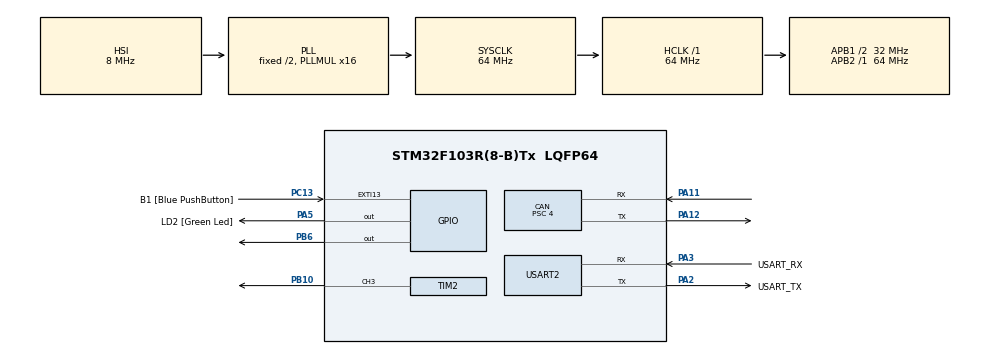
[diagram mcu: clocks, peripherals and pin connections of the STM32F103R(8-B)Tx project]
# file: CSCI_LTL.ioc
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CAN.BS1=CAN_BS1_13TQ
CAN.BS2=CAN_BS2_2TQ
CAN.CalculateBaudRate=500000
CAN.CalculateTimeBit=2000
CAN.CalculateTimeQuantum=125.0
CAN.Mode=CAN_MODE_NORMAL
CAN.Prescaler=4
Mcu.Family=STM32F1
Mcu.Name=STM32F103R(8-B)Tx
Mcu.Package=LQFP64
NVIC.CAN1_RX1_IRQn=true\:0\:0\:false\:false\:true\:true\:true\:true
NVIC.EXTI15_10_IRQn=true\:0\:0\:false\:false\:true\:true\:true\:true
NVIC.PriorityGroup=NVIC_PRIORITYGROUP_4
NVIC.USART2_IRQn=true\:0\:0\:false\:false\:true\:true\:true\:true
NVIC.USB_LP_CAN1_RX0_IRQn=true\:0\:0\:false\:false\:true\:true\:true\:true
PA11.Mode=CAN_Activate
PA11.Signal=CAN_RX
PA12.Mode=CAN_Activate
PA12.Signal=CAN_TX
PA13.GPIO_Label=TMS
PA13.Mode=Serial_Wire
PA13.Signal=SYS_JTMS-SWDIO
PA14.GPIO_Label=TCK
PA14.Mode=Serial_Wire
PA14.Signal=SYS_JTCK-SWCLK
PA2.GPIO_Label=USART_TX
PA2.GPIO_Mode=GPIO_MODE_AF_PP
PA2.GPIO_PuPd=GPIO_NOPULL
PA2.GPIO_Speed=GPIO_SPEED_FREQ_LOW
PA2.Mode=Asynchronous
PA2.Signal=USART2_TX
PA3.GPIO_Label=USART_RX
PA3.GPIO_Mode=GPIO_MODE_AF_PP
PA3.GPIO_PuPd=GPIO_NOPULL
PA3.GPIO_Speed=GPIO_SPEED_FREQ_LOW
PA3.Mode=Asynchronous
PA3.Signal=USART2_RX
PA5.GPIO_Label=LD2 [Green Led]
PA5.GPIO_ModeDefaultOutputPP=GPIO_MODE_OUTPUT_PP
PA5.GPIO_PuPd=GPIO_NOPULL
PA5.GPIO_Speed=GPIO_SPEED_FREQ_LOW
PA5.Signal=GPIO_Output
PB10.Signal=S_TIM2_CH3
PB3.GPIO_Label=SWO
PB3.Signal=SYS_JTDO-TRACESWO
PB6.Signal=GPIO_Output
PC13-TAMPER-RTC.GPIO_Label=B1 [Blue PushButton]
PC13-TAMPER-RTC.GPIO_PuPd=GPIO_NOPULL
PC13-TAMPER-RTC.Signal=GPXTI13
PC14-OSC32_IN.Mode=LSE-External-Oscillator
PC14-OSC32_IN.Signal=RCC_OSC32_IN
PC15-OSC32_OUT.Mode=LSE-External-Oscillator
PC15-OSC32_OUT.Signal=RCC_OSC32_OUT
PD0-OSC_IN.Mode=HSE-External-Clock-Source
PD0-OSC_IN.Signal=RCC_OSC_IN
PD1-OSC_OUT.Mode=HSE-External-Clock-Source
PD1-OSC_OUT.Signal=RCC_OSC_OUT
ProjectManager.HeapSize=0x200
ProjectManager.StackSize=0x400
ProjectManager.TargetToolchain=STM32CubeIDE
RCC.AHBFreq_Value=64000000
RCC.APB1CLKDivider=RCC_HCLK_DIV2
RCC.APB1Freq_Value=32000000
RCC.APB1TimFreq_Value=64000000
RCC.APB2Freq_Value=64000000
RCC.APB2TimFreq_Value=64000000
RCC.HCLKFreq_Value=64000000
RCC.PLLMUL=RCC_PLL_MUL16
RCC.RTCClockSelection=RCC_RTCCLKSOURCE_LSE
RCC.SYSCLKFreq_VALUE=64000000
RCC.SYSCLKSource=RCC_SYSCLKSOURCE_PLLCLK
RCC.USBFreq_Value=64000000
SH.S_TIM2_CH3.0=TIM2_CH3,PWM Generation3 CH3
TIM2.Channel-PWM\ Generation3\ CH3=TIM_CHANNEL_3
TIM2.Period=19999
TIM2.Prescaler=63
TIM2.Pulse-PWM\ Generation3\ CH3=1500
TIM4.AutoReloadPreload=TIM_AUTORELOAD_PRELOAD_ENABLE
TIM4.Period=19999
TIM4.Prescaler=63
USART2.VirtualMode=VM_ASYNC
VP_TIM4_VS_ClockSourceINT.Mode=Internal
board=NUCLEO-F103RB

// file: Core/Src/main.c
/* USER CODE BEGIN Header */
/**
  ******************************************************************************
  * @file           : main.c
  * @brief          : Main program body
  ******************************************************************************
  * @attention
  *
  * Copyright (c) 2026 STMicroelectronics.
  * All rights reserved.
  *
  * This software is licensed under terms that can be found in the LICENSE file
  * in the root directory of this software component.
  * If no LICENSE file comes with this software, it is provided AS-IS.
  *
  ******************************************************************************
  */
/* USER CODE END Header */
#include "main.h"

/* USER CODE BEGIN Includes */
#include "types.h"
#include "ecs_com.h"
#include "state.h"
#include "laying.h"
#include <stdio.h>
/* USER CODE END Includes */

CAN_HandleTypeDef hcan;

TIM_HandleTypeDef htim2;
TIM_HandleTypeDef htim4;

UART_HandleTypeDef huart2;

/* USER CODE BEGIN PV */
uint8_t rx_data[8];
uint8_t uart_rx_buf[8];
/* USER CODE END PV */

void SystemClock_Config(void);
static void MX_GPIO_Init(void);
static void MX_USART2_UART_Init(void);
static void MX_CAN_Init(void);
static void MX_TIM4_Init(void);
static void MX_TIM2_Init(void);
/* USER CODE BEGIN PFP */
/* UART로 8바이트 데이터를 받으면 실행되는 콜백 */
void HAL_UART_RxCpltCallback(UART_HandleTypeDef *huart);
/* USER CODE END PFP */

/* USER CODE BEGIN 0 */
int __io_putchar(int ch)
{
    HAL_UART_Transmit(&huart2, (uint8_t*)&ch, 1, HAL_MAX_DELAY);
    return ch;
}
/* USER CODE END 0 */

int main(void)
{

  /* MCU Configuration--------------------------------------------------------*/

  /* Reset of all peripherals, Initializes the Flash interface and the Systick. */
  HAL_Init();

  /* Configure the system clock */
  SystemClock_Config();

  /* Initialize all configured peripherals */
  MX_GPIO_Init();
  MX_USART2_UART_Init();
  MX_CAN_Init();
  MX_TIM4_Init();
  MX_TIM2_Init();
  /* USER CODE BEGIN 2 */
    // 1. CAN 필터 설정 (이게 없으면 메시지가 수신되지 않음)
    CAN_FilterTypeDef sFilterConfig;
    sFilterConfig.FilterBank = 0;
    sFilterConfig.FilterMode = CAN_FILTERMODE_IDMASK;
    sFilterConfig.FilterScale = CAN_FILTERSCALE_32BIT;
    sFilterConfig.FilterIdHigh = 0x0000;
    sFilterConfig.FilterIdLow = 0x0000;
    sFilterConfig.FilterMaskIdHigh = 0x0000; // 0으로 설정하면 모든 ID 수신 (테스트용)
    sFilterConfig.FilterMaskIdLow = 0x0000;
    sFilterConfig.FilterFIFOAssignment = CAN_RX_FIFO0;
    sFilterConfig.FilterActivation = ENABLE;

    if (HAL_CAN_ConfigFilter(&hcan, &sFilterConfig) != HAL_OK) {
        Error_Handler();
    }

    // 2. CAN 주변장치 시작 (이게 없으면 전송/수신 모두 불가)
    if (HAL_CAN_Start(&hcan) != HAL_OK) {
        Error_Handler();
    }

    // 발사대 시작 확인 출력
    printf("Launcher System Online!\r\n");
    HAL_UART_Transmit(&huart2, (uint8_t*)"UART TEST\r\n", 11, 100);

    HAL_UART_Receive_IT(&huart2, uart_rx_buf, 8);
    HAL_TIM_PWM_Start(&htim2, TIM_CHANNEL_3);

  /* USER CODE END 2 */

    /* Infinite loop */
    /* USER CODE BEGIN WHILE */
    while (1)
    {
        // 2. ECS 명령 데이터 수신 및 파싱
        receiveDataFromECS();

        // 3. 상태 머신 구동 (여기서 조준, 사격 등의 동작 제어)
        executeStateProcess();

        // 4. 상태 보고 주기 조정: 50ms -> 1000ms로 변경
        static uint32_t last_send_tick = 0;
        if (HAL_GetTick() - last_send_tick >= 1000) { // 💡 1초마다 한 번씩만 보고
            sendStateToECS();
            last_send_tick = HAL_GetTick();
        }
    /* USER CODE END WHILE */

  }
}

void SystemClock_Config(void)
{
  RCC_OscInitTypeDef RCC_OscInitStruct = {0};
  RCC_ClkInitTypeDef RCC_ClkInitStruct = {0};

  /** Initializes the RCC Oscillators according to the specified parameters
  * in the RCC_OscInitTypeDef structure.
  */
  RCC_OscInitStruct.OscillatorType = RCC_OSCILLATORTYPE_HSI;
  RCC_OscInitStruct.HSIState = RCC_HSI_ON;
  RCC_OscInitStruct.HSICalibrationValue = RCC_HSICALIBRATION_DEFAULT;
  RCC_OscInitStruct.PLL.PLLState = RCC_PLL_ON;
  RCC_OscInitStruct.PLL.PLLSource = RCC_PLLSOURCE_HSI_DIV2;
  RCC_OscInitStruct.PLL.PLLMUL = RCC_PLL_MUL16;
  if (HAL_RCC_OscConfig(&RCC_OscInitStruct) != HAL_OK)
  {
    Error_Handler();
  }

  /** Initializes the CPU, AHB and APB buses clocks
  */
  RCC_ClkInitStruct.ClockType = RCC_CLOCKTYPE_HCLK|RCC_CLOCKTYPE_SYSCLK
                              |RCC_CLOCKTYPE_PCLK1|RCC_CLOCKTYPE_PCLK2;
  RCC_ClkInitStruct.SYSCLKSource = RCC_SYSCLKSOURCE_PLLCLK;
  RCC_ClkInitStruct.AHBCLKDivider = RCC_SYSCLK_DIV1;
  RCC_ClkInitStruct.APB1CLKDivider = RCC_HCLK_DIV2;
  RCC_ClkInitStruct.APB2CLKDivider = RCC_HCLK_DIV1;

  if (HAL_RCC_ClockConfig(&RCC_ClkInitStruct, FLASH_LATENCY_2) != HAL_OK)
  {
    Error_Handler();
  }
}

static void MX_CAN_Init(void)
{

  hcan.Instance = CAN1;
  hcan.Init.Prescaler = 4;
  hcan.Init.Mode = CAN_MODE_NORMAL;
  hcan.Init.SyncJumpWidth = CAN_SJW_1TQ;
  hcan.Init.TimeSeg1 = CAN_BS1_13TQ;
  hcan.Init.TimeSeg2 = CAN_BS2_2TQ;
  hcan.Init.TimeTriggeredMode = DISABLE;
  hcan.Init.AutoBusOff = DISABLE;
  hcan.Init.AutoWakeUp = DISABLE;
  hcan.Init.AutoRetransmission = DISABLE;
  hcan.Init.ReceiveFifoLocked = DISABLE;
  hcan.Init.TransmitFifoPriority = DISABLE;
  if (HAL_CAN_Init(&hcan) != HAL_OK)
  {
    Error_Handler();
  }

}

static void MX_TIM2_Init(void)
{

  TIM_MasterConfigTypeDef sMasterConfig = {0};
  TIM_OC_InitTypeDef sConfigOC = {0};

  htim2.Instance = TIM2;
  htim2.Init.Prescaler = 63;
  htim2.Init.CounterMode = TIM_COUNTERMODE_UP;
  htim2.Init.Period = 19999;
  htim2.Init.ClockDivision = TIM_CLOCKDIVISION_DIV1;
  htim2.Init.AutoReloadPreload = TIM_AUTORELOAD_PRELOAD_DISABLE;
  if (HAL_TIM_PWM_Init(&htim2) != HAL_OK)
  {
    Error_Handler();
  }
  sMasterConfig.MasterOutputTrigger = TIM_TRGO_RESET;
  sMasterConfig.MasterSlaveMode = TIM_MASTERSLAVEMODE_DISABLE;
  if (HAL_TIMEx_MasterConfigSynchronization(&htim2, &sMasterConfig) != HAL_OK)
  {
    Error_Handler();
  }
  sConfigOC.OCMode = TIM_OCMODE_PWM1;
  sConfigOC.Pulse = 1500;
  sConfigOC.OCPolarity = TIM_OCPOLARITY_HIGH;
  sConfigOC.OCFastMode = TIM_OCFAST_DISABLE;
  if (HAL_TIM_PWM_ConfigChannel(&htim2, &sConfigOC, TIM_CHANNEL_3) != HAL_OK)
  {
    Error_Handler();
  }
  HAL_TIM_MspPostInit(&htim2);

}

static void MX_TIM4_Init(void)
{

  TIM_ClockConfigTypeDef sClockSourceConfig = {0};
  TIM_MasterConfigTypeDef sMasterConfig = {0};

  htim4.Instance = TIM4;
  htim4.Init.Prescaler = 63;
  htim4.Init.CounterMode = TIM_COUNTERMODE_UP;
  htim4.Init.Period = 19999;
  htim4.Init.ClockDivision = TIM_CLOCKDIVISION_DIV1;
  htim4.Init.AutoReloadPreload = TIM_AUTORELOAD_PRELOAD_ENABLE;
  if (HAL_TIM_Base_Init(&htim4) != HAL_OK)
  {
    Error_Handler();
  }
  sClockSourceConfig.ClockSource = TIM_CLOCKSOURCE_INTERNAL;
  if (HAL_TIM_ConfigClockSource(&htim4, &sClockSourceConfig) != HAL_OK)
  {
    Error_Handler();
  }
  sMasterConfig.MasterOutputTrigger = TIM_TRGO_RESET;
  sMasterConfig.MasterSlaveMode = TIM_MASTERSLAVEMODE_DISABLE;
  if (HAL_TIMEx_MasterConfigSynchronization(&htim4, &sMasterConfig) != HAL_OK)
  {
    Error_Handler();
  }

}

static void MX_USART2_UART_Init(void)
{

  huart2.Instance = USART2;
  huart2.Init.BaudRate = 115200;
  huart2.Init.WordLength = UART_WORDLENGTH_8B;
  huart2.Init.StopBits = UART_STOPBITS_1;
  huart2.Init.Parity = UART_PARITY_NONE;
  huart2.Init.Mode = UART_MODE_TX_RX;
  huart2.Init.HwFlowCtl = UART_HWCONTROL_NONE;
  huart2.Init.OverSampling = UART_OVERSAMPLING_16;
  if (HAL_UART_Init(&huart2) != HAL_OK)
  {
    Error_Handler();
  }

}

static void MX_GPIO_Init(void)
{
  GPIO_InitTypeDef GPIO_InitStruct = {0};

  /* GPIO Ports Clock Enable */
  __HAL_RCC_GPIOC_CLK_ENABLE();
  __HAL_RCC_GPIOD_CLK_ENABLE();
  __HAL_RCC_GPIOA_CLK_ENABLE();
  __HAL_RCC_GPIOB_CLK_ENABLE();

  /*Configure GPIO pin Output Level */
  HAL_GPIO_WritePin(LD2_GPIO_Port, LD2_Pin, GPIO_PIN_RESET);

  /*Configure GPIO pin Output Level */
  HAL_GPIO_WritePin(GPIOB, GPIO_PIN_6, GPIO_PIN_RESET);

  /*Configure GPIO pin : B1_Pin */
  GPIO_InitStruct.Pin = B1_Pin;
  GPIO_InitStruct.Mode = GPIO_MODE_IT_RISING;
  GPIO_InitStruct.Pull = GPIO_NOPULL;
  HAL_GPIO_Init(B1_GPIO_Port, &GPIO_InitStruct);

  /*Configure GPIO pin : LD2_Pin */
  GPIO_InitStruct.Pin = LD2_Pin;
  GPIO_InitStruct.Mode = GPIO_MODE_OUTPUT_PP;
  GPIO_InitStruct.Pull = GPIO_NOPULL;
  GPIO_InitStruct.Speed = GPIO_SPEED_FREQ_LOW;
  HAL_GPIO_Init(LD2_GPIO_Port, &GPIO_InitStruct);

  /*Configure GPIO pin : PB6 */
  GPIO_InitStruct.Pin = GPIO_PIN_6;
  GPIO_InitStruct.Mode = GPIO_MODE_OUTPUT_PP;
  GPIO_InitStruct.Pull = GPIO_NOPULL;
  GPIO_InitStruct.Speed = GPIO_SPEED_FREQ_LOW;
  HAL_GPIO_Init(GPIOB, &GPIO_InitStruct);

  /* EXTI interrupt init*/
  HAL_NVIC_SetPriority(EXTI15_10_IRQn, 0, 0);
  HAL_NVIC_EnableIRQ(EXTI15_10_IRQn);

}

/* USER CODE BEGIN 4 */
void HAL_UART_RxCpltCallback(UART_HandleTypeDef *huart) {
    if (huart->Instance == USART2) { // ST-Link 연결 포트
    	// HAL_GPIO_TogglePin(GPIOA, GPIO_PIN_5);
        // 1. 받은 데이터를 CAN 수신 버퍼(rx_data)에 복사함
        // 외부에서 선언된 rx_data 배열을 사용
        memcpy(rx_data, uart_rx_buf, 8);

        // 2. CAN 데이터 변환 함수를 강제로 호출함
        convertDataToLTLStruct();

        // 3. 다시 수신 대기
        HAL_UART_Receive_IT(&huart2, uart_rx_buf, 8);
    }
}
/* USER CODE END 4 */

void Error_Handler(void)
{
  __disable_irq();
  while (1)
  {
  }
}
